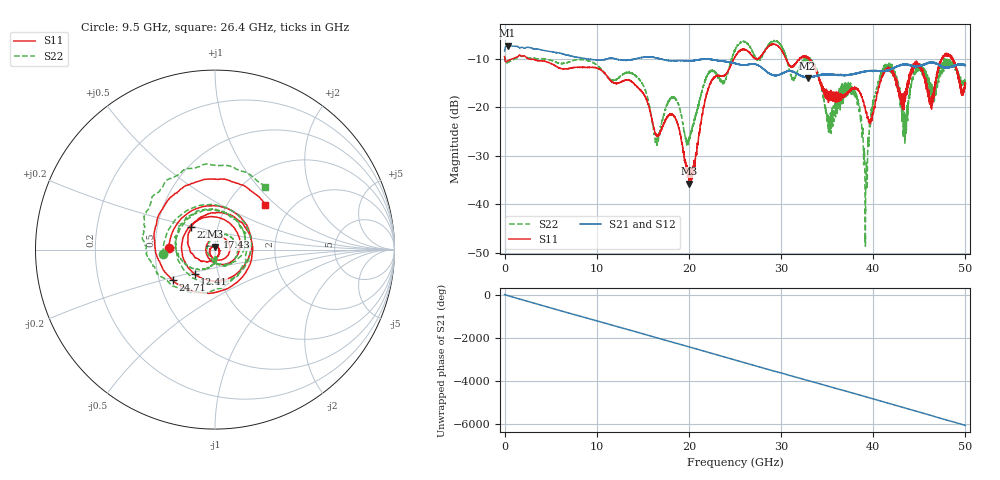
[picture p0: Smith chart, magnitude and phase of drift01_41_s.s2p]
!Created with skrf (http://scikit-rf.org).
# Hz S RI R 50.0
!freq ReS11 ImS11 ReS21 ImS21 ReS12 ImS12 ReS22 ImS22
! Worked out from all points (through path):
!   10001 points, 300 kHz to 50 GHz, reference 50 ohm
!   highest |S21| = -7.33 dB at 325.3 MHz (marker M1); lowest = -14.0 dB at 32.87 GHz (marker M2)
!   group delay of S21, straight-line fit = 335 ps
!   lowest |S11| = -35.8 dB at 20.01 GHz (marker M3), VSWR 1.03, Z = 49.8 + j1.61 ohm
!   |S11| at or under -10 dB: 2.553 GHz to 24.91 GHz (22.35 GHz wide, 163 % of centre); 30.51 GHz to 32.01 GHz (1.505 GHz wide, 4.81 % of centre); 33.04 GHz to 47.41 GHz (14.37 GHz wide, 35.7 % of centre) (the widest 3 of 21)
!   |S22| runs from -48.7 to -6.3 dB; largest |S21 - S12| = 0.0097
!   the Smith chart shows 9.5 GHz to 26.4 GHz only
!   S11 on the Smith chart (normalised r, x): 9.5 GHz: 0.59, +0.01; 12.41 GHz: 0.77, -0.22; 17.43 GHz: 1.02, +0.15; 22.4 GHz: 0.74, +0.19; 24.71 GHz: 0.59, -0.22; 26.4 GHz: 1.48, +0.86
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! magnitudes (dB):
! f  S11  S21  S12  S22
! 300 kHz  -9.6  -8.4  -8.5  -9.5
! 325.3 MHz  -10.5  -7.3  -7.3  -10.9
! 8.335 GHz  -11.8  -9.9  -9.9  -10.2
! 9.5 GHz  -11.8  -10.2  -10.2  -10.8
! 12.41 GHz  -15.0  -10.2  -10.2  -14.0
! 16.67 GHz  -26.0  -10.0  -10.0  -27.1
! 17.43 GHz  -22.8  -10.3  -10.3  -20.5
! 20.01 GHz  -35.8  -10.5  -10.5  -26.5
! 22.4 GHz  -14.8  -10.2  -10.2  -12.4
! 24.71 GHz  -10.8  -10.9  -10.9  -9.7
! 25 GHz  -9.6  -11.0  -11.0  -8.3
! 26.4 GHz  -8.5  -11.3  -11.2  -7.0
! 32.87 GHz  -9.7  -14.0  -13.9  -9.8
! 33.34 GHz  -10.8  -13.8  -13.8  -10.6
! 35.23 GHz  -17.4  -13.3  -13.3  -22.4
! 37.99 GHz  -16.0  -13.2  -13.2  -17.0
! 39.17 GHz  -20.6  -12.6  -12.6  -41.7
! 40.14 GHz  -20.0  -12.5  -12.5  -17.8
! 41.67 GHz  -12.2  -12.3  -12.3  -11.5
! 43.45 GHz  -17.1  -11.3  -11.3  -25.2
! 44.88 GHz  -11.1  -11.6  -11.6  -11.9
! 50 GHz  -15.4  -11.4  -11.4  -14.9
